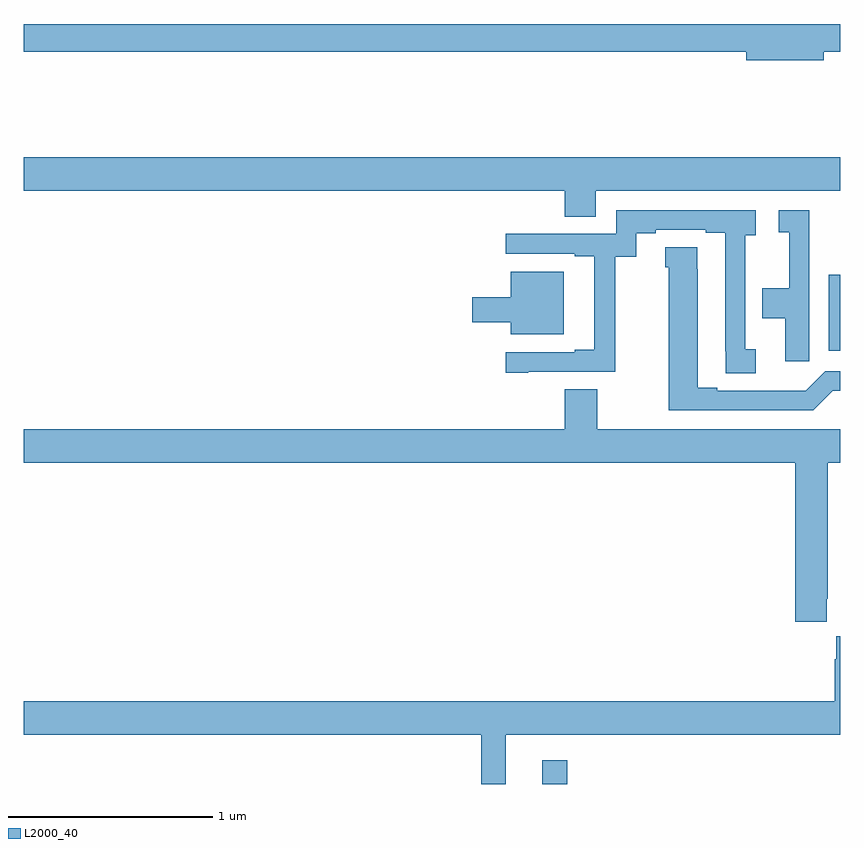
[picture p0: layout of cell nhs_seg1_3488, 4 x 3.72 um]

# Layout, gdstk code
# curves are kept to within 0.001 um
import gdstk
lib = gdstk.Library(unit=1e-6, precision=1e-09)
def R(c, l, rs):  # rectangles x0, y0, x1, y1
    for r in rs: c.add(gdstk.rectangle(r[:2], r[2:], *l))
def P(c, l, *ps):  # polygons
    for p in ps: c.add(gdstk.Polygon(p, *l))
L2000_40 = (2000, 40)

nhs_seg1_3488 = lib.new_cell('nhs_seg1_3488')
R(nhs_seg1_3488, L2000_40, [(303.539,510.199,303.661,510.316), (304.943,512.321,305,512.692)])
P(nhs_seg1_3488, L2000_40, [(304.918,513.784),(305,513.784),(305,513.92),(301,513.92),(301,513.784),(304.538,513.784),(304.538,513.742),(304.918,513.742)],
  [(303.802,513.104),(305,513.104),(305,513.268),(301,513.268),(301,513.104),(303.65,513.104),(303.65,512.977),(303.802,512.977)],
  [(304.585,512.328),(304.533,512.328),(304.533,512.885),(304.585,512.885),(304.585,513.009),(303.903,513.009),(303.903,512.892),(303.36,512.892),(303.36,512.796),(303.698,512.796),(303.698,512.784),(303.794,512.784),(303.794,512.326),(303.698,512.326),(303.698,512.313),(303.36,512.313),(303.36,512.212),(303.472,512.212),(303.472,512.217),(303.896,512.217),(303.896,512.78),(304,512.78),(304,512.895),(304.096,512.895),(304.096,512.913),(304.34,512.913),(304.34,512.898),(304.436,512.898),(304.436,512.317),(304.437,512.317),(304.437,512.209),(304.585,512.209)],
  [(304.846,513.007),(304.698,513.007),(304.698,512.901),(304.748,512.901),(304.748,512.626),(304.618,512.626),(304.618,512.479),(304.73,512.479),(304.73,512.268),(304.846,512.268)],
  [(304.962,512.124),(305,512.124),(305,512.22),(304.926,512.22),(304.831,512.125),(304.396,512.124),(304.396,512.139),(304.3,512.139),(304.299,512.828),(304.142,512.828),(304.142,512.73),(304.16,512.73),(304.16,512.028),(304.866,512.028)],
  [(303.646,512.707),(303.386,512.707),(303.386,512.581),(303.198,512.581),(303.198,512.459),(303.386,512.459),(303.386,512.402),(303.646,512.402)],
  [(304.933,511.105),(304.938,511.105),(304.938,511.772),(305,511.772),(305,511.936),(303.81,511.936),(303.81,512.132),(303.65,512.132),(303.65,511.936),(301,511.936),(301,511.772),(304.778,511.772),(304.778,510.993),(304.933,510.993)],
  [(303.361,510.44),(305,510.44),(305,510.922),(304.979,510.922),(304.979,510.809),(304.973,510.809),(304.973,510.604),(301,510.604),(301,510.44),(303.24,510.44),(303.24,510.199),(303.361,510.199)])

lib.write_gds('nhs_seg1_3488.gds')
